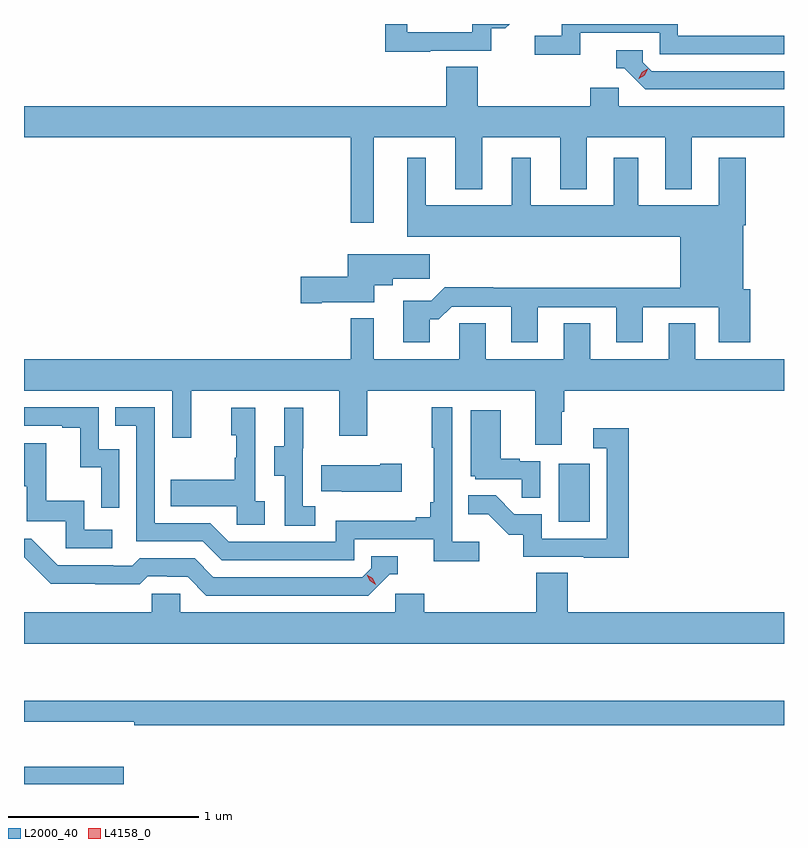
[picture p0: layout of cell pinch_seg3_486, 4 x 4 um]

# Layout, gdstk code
import gdstk
lib = gdstk.Library(unit=1e-6, precision=1e-09)
def R(c, l, rs):  # rectangles x0, y0, x1, y1
    for r in rs: c.add(gdstk.rectangle(r[:2], r[2:], *l))
def P(c, l, *ps):  # polygons
    for p in ps: c.add(gdstk.Polygon(p, *l))
L2000_40 = (2000, 40)
L4158_0 = (4158, 0)

pinch_seg3_486 = lib.new_cell('pinch_seg3_486')
R(pinch_seg3_486, L2000_40, [(996.158,670.873,996.683,670.965), (998.972,672.252,999.136,672.559)])
P(pinch_seg3_486, L2000_40, [(999.086,674.826),(999.504,674.826),(999.504,674.715),(1000.158,674.715),(1000.158,674.811),(999.6,674.811),(999.6,674.873),(998.988,674.873),(998.988,674.812),(998.847,674.812),(998.847,674.71),(999.086,674.71)],
  [(998.297,674.733),(998.616,674.733),(998.616,674.85),(998.692,674.85),(998.715,674.873),(998.517,674.873),(998.517,674.829),(998.175,674.829),(998.175,674.873),(998.059,674.873),(998.059,674.728),(998.297,674.728)],
  [(1000.158,674.625),(999.462,674.625),(999.414,674.673),(999.414,674.736),(999.275,674.736),(999.275,674.64),(999.318,674.64),(999.429,674.529),(1000.158,674.529)],
  [(998.546,674.648),(998.381,674.648),(998.381,674.44),(996.158,674.44),(996.158,674.276),(997.878,674.276),(997.878,673.827),(997.999,673.827),(997.999,674.276),(998.429,674.276),(998.429,674.003),(998.569,674.003),(998.569,674.276),(998.981,674.276),(998.981,674.003),(999.121,674.003),(999.121,674.276),(999.533,674.276),(999.533,674.003),(999.673,674.003),(999.673,674.276),(1000.158,674.276),(1000.158,674.44),(999.288,674.44),(999.288,674.538),(999.137,674.538),(999.137,674.44),(998.546,674.44)],
  [(998.293,673.319),(998.342,673.319),(998.409,673.386),(998.723,673.386),(998.723,673.197),(998.863,673.197),(998.863,673.383),(999.275,673.383),(999.275,673.197),(999.415,673.197),(999.415,673.383),(999.815,673.383),(999.815,673.197),(999.98,673.197),(999.98,673.476),(999.943,673.476),(999.943,673.814),(999.956,673.814),(999.956,674.17),(999.815,674.17),(999.815,673.918),(999.391,673.918),(999.391,674.17),(999.263,674.17),(999.263,673.918),(998.824,673.918),(998.824,674.17),(998.726,674.17),(998.726,673.918),(998.272,673.918),(998.272,674.17),(998.174,674.17),(998.174,673.754),(999.611,673.754),(999.611,673.484),(998.627,673.484),(998.627,673.487),(998.372,673.487),(998.302,673.417),(998.153,673.417),(998.153,673.197),(998.293,673.197)],
  [(997.726,673.409),(998.002,673.409),(998.002,673.499),(998.098,673.499),(998.098,673.531),(998.293,673.531),(998.293,673.66),(997.862,673.66),(997.862,673.544),(997.614,673.544),(997.614,673.402),(997.726,673.402)],
  [(998.989,672.832),(999.002,672.832),(999.002,672.944),(1000.158,672.944),(1000.158,673.108),(999.691,673.108),(999.691,673.298),(999.551,673.298),(999.551,673.108),(999.139,673.108),(999.139,673.298),(998.999,673.298),(998.999,673.108),(998.587,673.108),(998.587,673.298),(998.448,673.298),(998.448,673.108),(997.999,673.108),(997.999,673.324),(997.878,673.324),(997.878,673.108),(996.158,673.108),(996.158,672.944),(996.939,672.944),(996.939,672.696),(997.037,672.696),(997.037,672.944),(997.817,672.944),(997.817,672.705),(997.965,672.705),(997.965,672.944),(998.849,672.944),(998.849,672.658),(998.989,672.658)],
  [(998.554,672.148),(998.412,672.148),(998.412,672.856),(998.304,672.856),(998.304,672.643),(998.315,672.643),(998.315,672.355),(998.296,672.355),(998.296,672.278),(998.219,672.278),(998.219,672.259),(997.8,672.259),(997.8,672.147),(997.236,672.147),(997.137,672.246),(996.846,672.246),(996.846,672.855),(996.637,672.855),(996.637,672.759),(996.75,672.759),(996.75,672.15),(997.1,672.15),(997.199,672.051),(997.896,672.051),(997.896,672.162),(998.315,672.162),(998.315,672.046),(998.554,672.046)],
  [(996.66,672.636),(996.552,672.636),(996.552,672.855),(996.158,672.855),(996.158,672.759),(996.359,672.759),(996.359,672.747),(996.455,672.747),(996.455,672.539),(996.564,672.539),(996.564,672.327),(996.66,672.327)],
  [(997.426,672.362),(997.374,672.362),(997.374,672.853),(997.25,672.853),(997.25,672.708),(997.276,672.708),(997.276,672.59),(997.266,672.59),(997.266,672.475),(996.931,672.475),(996.931,672.335),(997.278,672.335),(997.278,672.237),(997.426,672.237)],
  [(997.69,672.335),(997.626,672.335),(997.626,672.639),(997.628,672.639),(997.628,672.853),(997.529,672.853),(997.529,672.651),(997.475,672.651),(997.475,672.496),(997.53,672.496),(997.53,672.232),(997.69,672.232)],
  [(998.874,672.573),(998.768,672.573),(998.768,672.586),(998.668,672.586),(998.668,672.841),(998.51,672.841),(998.51,672.492),(998.532,672.492),(998.532,672.477),(998.779,672.477),(998.779,672.379),(998.874,672.379)],
  [(999.341,672.745),(999.153,672.745),(999.153,672.639),(999.225,672.639),(999.225,672.165),(998.883,672.165),(998.883,672.294),(998.739,672.294),(998.641,672.392),(998.497,672.392),(998.497,672.293),(998.601,672.293),(998.708,672.186),(998.785,672.186),(998.785,672.069),(999.103,672.069),(999.103,672.064),(999.341,672.064)],
  [(996.622,672.21),(996.474,672.21),(996.474,672.364),(996.275,672.364),(996.275,672.667),(996.158,672.667),(996.158,672.441),(996.173,672.441),(996.173,672.255),(996.378,672.255),(996.378,672.114),(996.622,672.114)],
  [(998.146,672.558),(998.033,672.558),(998.033,672.55),(997.723,672.55),(997.723,672.413),(997.831,672.413),(997.831,672.41),(998.146,672.41)],
  [(998.082,671.976),(998.125,671.976),(998.125,672.072),(997.986,672.072),(997.986,672.009),(997.938,671.961),(997.155,671.961),(997.056,672.06),(996.767,672.06),(996.728,672.021),(996.629,672.021),(996.629,672.024),(996.336,672.024),(996.195,672.165),(996.158,672.165),(996.158,672.067),(996.298,671.927),(996.534,671.927),(996.534,671.925),(996.767,671.925),(996.809,671.967),(996.912,671.967),(996.912,671.964),(997.019,671.964),(997.118,671.865),(997.971,671.865)],
  [(1000.158,671.776),(999.02,671.776),(999.02,671.984),(998.855,671.984),(998.855,671.776),(998.264,671.776),(998.264,671.874),(998.112,671.874),(998.112,671.776),(996.981,671.776),(996.981,671.874),(996.831,671.874),(996.831,671.776),(996.158,671.776),(996.158,671.612),(1000.158,671.612)],
  [(1000.158,671.311),(996.158,671.311),(996.158,671.2),(996.737,671.2),(996.737,671.182),(1000.158,671.182)])
P(pinch_seg3_486, L4158_0, [(998.009,671.923),(997.978,671.942),(997.962,671.975),(997.962,671.975),(997.962,671.975),(997.993,671.956),(998.009,671.923),(998.009,671.923)],
  [(999.393,674.584),(999.393,674.585),(999.409,674.618),(999.44,674.638),(999.44,674.638),(999.44,674.637),(999.424,674.604),(999.394,674.584)])

lib.write_gds('pinch_seg3_486.gds')
